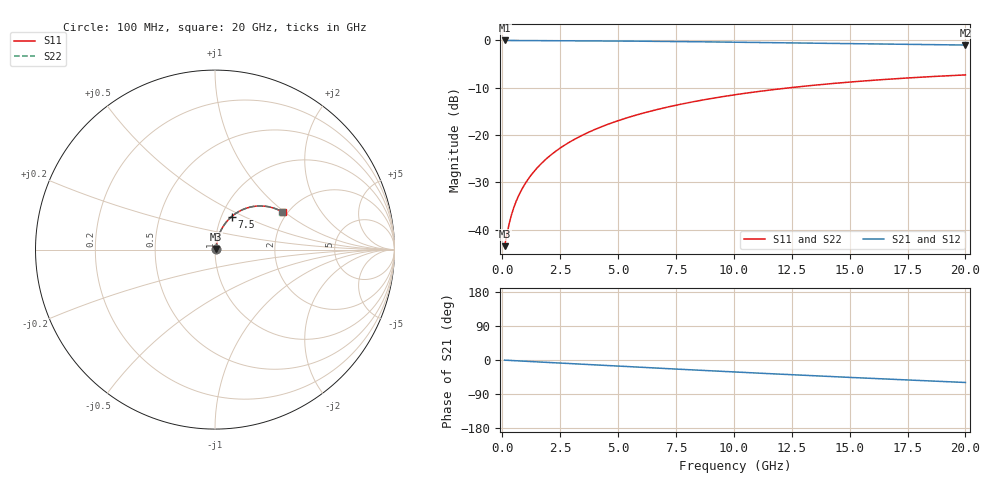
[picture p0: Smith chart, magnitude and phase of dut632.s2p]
! Touchstone file exported from HFSS 2026.1.0
!  File:  C:/ffzhzh/LocalFiles/Ansys_Project_Files/temp_train_BSMRDL_632_1783016611_46388.aedt
!  Generated:  02:25:04 AM Jul  3, 2026
!  Design:  BSMRDL
!  Project:  temp_train_BSMRDL_632_1783016611_46388
! Variables:
!  h_bsmrdl = 2.18um
!  h_ox = 20um
!  h_rdl = 5um
!  h_sub = 80um
!  h_tmrdl = 5um
!  h_tsv = 80um
!  h_via = 3um
!  l_bsmrdl = 942.31um
!  l_sub = 1342.31um
!  l_tmrdl = 200um
!  m_sub = 200um
!  pitch = 50.08um
!  r_tsv = 6um
!  s_tmrdl = 10um
!  w_bsmrdl = 27.9um
!  w_sub = 500um
!  w_tmrdl = 12um
!  x_tsv_center1 = 206um
!  x_tsv_center2 = 1176.21um
!  x_tsv_center3 = 1388.21um
!  x_tsv_center4 = 2358.42um
!  x_tsv_center5 = 2570.42um
!  x_tsv_center6 = 3540.63um
# GHz S MA R 50.000000
! Terminal data exported
! Port[1] = BSM_RDL1_1_T1
! Port[2] = BSM_RDL1_1_T2
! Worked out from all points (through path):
!   200 points, 100 MHz to 20 GHz, reference 50 ohm
!   highest |S21| = -0.05 dB at 100 MHz (marker M1); lowest = -1.0 dB at 20 GHz (marker M2)
!   group delay of S21, straight-line fit = 8.25 ps
!   lowest |S11| = -43.5 dB at 100 MHz (marker M3), VSWR 1.01, Z = 50.6 + j0.336 ohm
!   |S11| at or under -10 dB: start of sweep to 12.49 GHz
!   |S22| runs from -43.5 to -7.3 dB; largest |S21 - S12| = 2.1e-14
!   S11 on the Smith chart (normalised r, x): 100 MHz: 1.01, +0.01; 7.5 GHz: 1.12, +0.43; 20 GHz: 1.88, +0.96
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0.1  0.006687 29.8  0.9942 -0.4  0.9942 -0.4  0.006687 29.8
! Gamma 0 0 0 0
! Port Impedance 50 0 50 0
0.2  0.008952 47.1  0.994 -0.7  0.994 -0.7  0.008952 47.1
0.3  0.01164 56.1  0.9936 -1.0  0.9936 -1.0  0.01164 56.1
0.4  0.01442 61.3  0.9933 -1.4  0.9933 -1.4  0.01442 61.3
0.5  0.01719 64.6  0.993 -1.7  0.993 -1.7  0.01719 64.6
0.6  0.01994 67.0  0.9927 -2.0  0.9927 -2.0  0.01994 67.0
0.8  0.02542 70.1  0.9922 -2.7  0.9922 -2.7  0.02542 70.1
1.1  0.03365 72.9  0.9916 -3.6  0.9916 -3.6  0.03365 72.9
1.3  0.03918 73.9  0.9913 -4.3  0.9913 -4.3  0.03918 74.0
1.6  0.04751 74.9  0.9908 -5.2  0.9908 -5.2  0.04751 74.9
2.1  0.06147 75.4  0.9898 -6.8  0.9898 -6.8  0.06147 75.4
2.7  0.07824 75.0  0.9885 -8.8  0.9885 -8.8  0.07823 75.0
3.5  0.1005 73.7  0.9863 -11.3  0.9863 -11.3  0.1005 73.7
4.2  0.1197 72.1  0.9839 -13.6  0.9839 -13.6  0.1197 72.2
5  0.1413 70.2  0.9808 -16.1  0.9808 -16.1  0.1413 70.2
5.9  0.1651 67.8  0.9769 -18.9  0.9769 -18.9  0.1651 67.8
6.8  0.1883 65.3  0.9724 -21.8  0.9724 -21.8  0.1883 65.3
7.5  0.2058 63.3  0.9686 -23.9  0.9686 -23.9  0.2058 63.3
10.1  0.2667 55.8  0.9529 -31.8  0.9529 -31.8  0.2667 55.9
13.4  0.3335 46.5  0.9308 -41.4  0.9308 -41.4  0.3335 46.6
16.7  0.3879 37.6  0.9089 -50.6  0.9089 -50.6  0.3879 37.7
20  0.4303 29.0  0.8894 -59.3  0.8894 -59.3  0.4303 29.2
